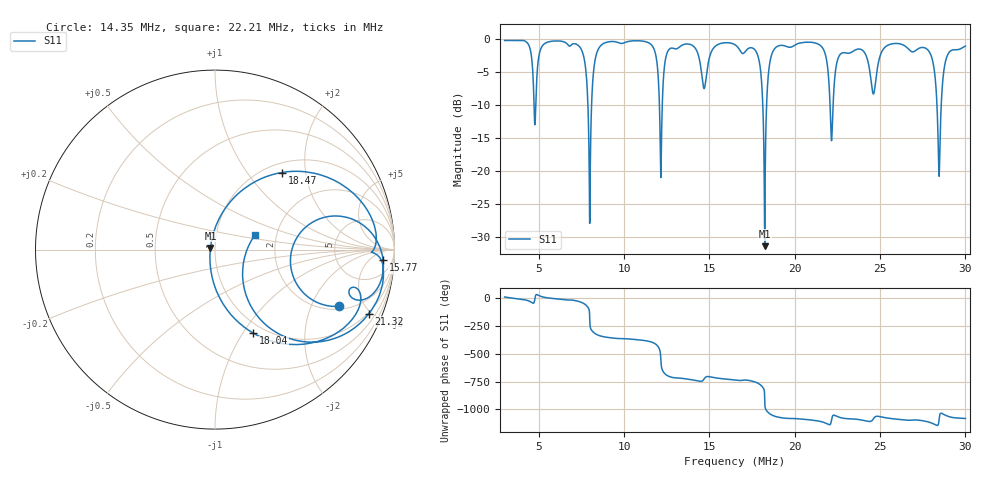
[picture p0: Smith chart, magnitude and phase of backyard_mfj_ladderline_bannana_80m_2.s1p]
! Touchstone file generated by AntScope2
# MHz Z RI R 50
! Format: Frequency Z-real Z-imaginary (normalized to 50 Ohm)
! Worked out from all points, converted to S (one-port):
!   2001 points, 3 MHz to 30 MHz, reference 50 ohm
!   lowest |S11| = -31.4 dB at 18.24 MHz (marker M1), VSWR 1.06, Z = 47.5 + j0.82 ohm
!   |S11| at or under -10 dB: 7.882 MHz to 8.095 MHz (213.6 kHz wide, 2.67 % of centre); 18.13 MHz to 18.35 MHz (221.1 kHz wide, 1.21 % of centre); 28.33 MHz to 28.58 MHz (248.9 kHz wide, 0.875 % of centre)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
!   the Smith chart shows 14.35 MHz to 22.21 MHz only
!   S11 on the Smith chart (normalised r, x): 14.35 MHz: 2.16, -3.22; 15.77 MHz: 16, -16; 18.04 MHz: 0.88, -1.12; 18.47 MHz: 1.17, +1.49; 21.32 MHz: 0.93, -4.82; 22.21 MHz: 1.54, +0.26
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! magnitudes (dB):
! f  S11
! 3 MHz  -0.2
! 4.377 MHz  -0.7
! 4.782 MHz  -12.9
! 6.375 MHz  -0.3
! 7.577 MHz  -2.1
! 7.981 MHz  -27.9
! 8.414 MHz  -1.9
! 9.75 MHz  -0.6
! 11.69 MHz  -1.1
! 12.15 MHz  -21.0
! 12.48 MHz  -2.4
! 13.12 MHz  -1.4
! 14.35 MHz  -2.4
! 15.77 MHz  -0.5
! 16.5 MHz  -0.8
! 18.04 MHz  -5.8
! 18.24 MHz  -31.4
! 18.47 MHz  -4.9
! 19.88 MHz  -1.1
! 21.32 MHz  -0.6
! 22.21 MHz  -12.6
! 23.25 MHz  -2.0
! 24.61 MHz  -8.3
! 26.62 MHz  -1.4
! 27.98 MHz  -2.4
! 28.46 MHz  -20.8
! 28.89 MHz  -2.8
! 30 MHz  -1.0
